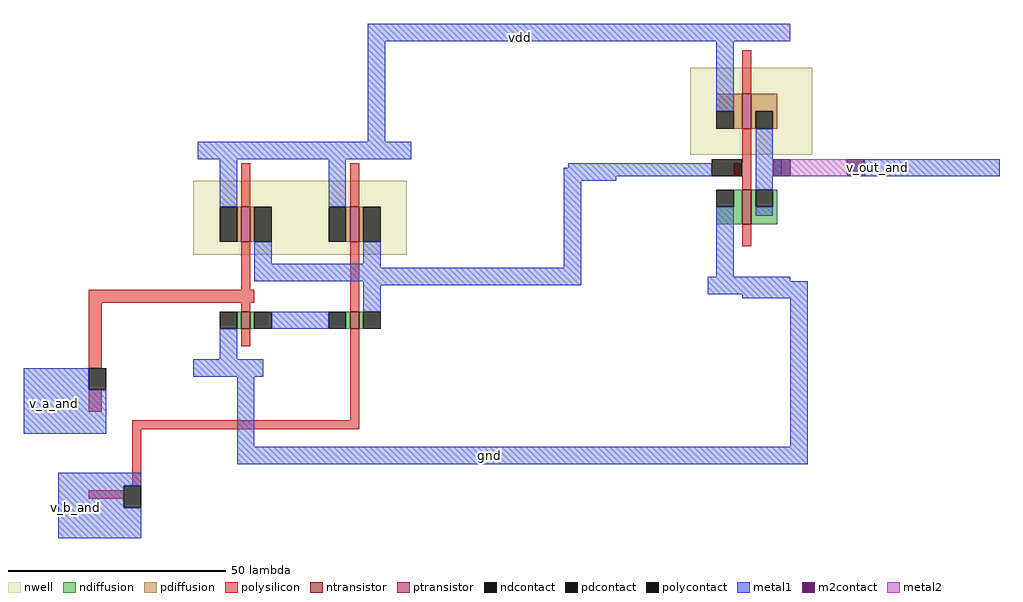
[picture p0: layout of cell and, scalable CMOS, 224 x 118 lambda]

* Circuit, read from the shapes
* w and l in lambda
.subckt and gnd v_a_and v_b_and v_out_and vdd
M1 n1 v_a_and gnd VSUBS nfet w=4 l=2
M2 inverter_0/v_in_inv v_b_and n1 VSUBS nfet w=4 l=2
M3 v_out_and inverter_0/v_in_inv gnd VSUBS nfet w=8 l=2
M4 inverter_0/v_in_inv v_a_and vdd n2 pfet w=8 l=2
M5 inverter_0/v_in_inv v_b_and vdd n2 pfet w=8 l=2
M6 v_out_and inverter_0/v_in_inv vdd n3 pfet w=8 l=2
.ends

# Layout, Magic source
magic
tech scmos
<< polysilicon >>
rect -24 18 14 21
rect -24 3 -21 18
rect -24 -7 -21 -2
rect 36 -9 38 11
rect -14 -11 38 -9
rect -14 -24 -12 -11
rect -24 -27 -16 -25
<< metal1 >>
rect 40 78 125 82
rect 40 51 44 78
rect 86 49 119 50
rect 85 47 119 49
rect 154 47 185 51
rect 85 46 97 47
rect 85 26 89 46
rect 39 22 89 26
rect 126 19 141 23
rect -39 -2 -24 3
rect -39 -12 -20 -2
rect 10 -15 14 5
rect 137 -15 141 19
rect 10 -19 141 -15
rect -31 -24 -12 -21
rect -31 -29 -16 -24
rect -31 -36 -12 -29
<< metal2 >>
rect 137 47 150 51
<< polycontact >>
rect 119 47 126 51
rect -24 -2 -20 3
rect -16 -29 -12 -24
<< m2contact >>
rect 133 47 137 51
rect 150 47 154 51
use inverter  inverter_0
transform 1 0 127 0 1 54
box -13 -34 15 28
use nand  nand_0
transform 1 0 0 0 1 26
box 0 -25 50 29
<< labels >>
rlabel metal1 157 49 157 49 7 v_out_and
rlabel metal1 68 -17 68 -17 1 gnd
rlabel metal1 75 79 75 79 5 vdd
rlabel metal1 -32 -5 -32 -5 1 v_a_and
rlabel metal1 -27 -29 -27 -29 1 v_b_and
<< end >>

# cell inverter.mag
magic
tech scmos
<< nwell >>
rect -13 -2 15 18
<< polysilicon >>
rect -1 12 1 22
rect -1 -4 1 4
rect -3 -7 1 -4
rect -1 -10 1 -7
rect -1 -23 1 -18
<< ndiffusion >>
rect -3 -14 -1 -10
rect -7 -18 -1 -14
rect 1 -14 2 -10
rect 6 -14 7 -10
rect 1 -18 7 -14
<< pdiffusion >>
rect -7 8 -1 12
rect -3 4 -1 8
rect 1 8 7 12
rect 1 4 2 8
rect 6 4 7 8
<< metal1 >>
rect -9 24 10 28
rect -7 8 -3 24
rect 2 -3 6 4
rect 2 -7 8 -3
rect 2 -10 6 -7
rect -7 -30 -3 -14
rect 2 -16 6 -14
rect -9 -34 10 -30
<< ntransistor >>
rect -1 -18 1 -10
<< ptransistor >>
rect -1 4 1 12
<< ndcontact >>
rect -7 -14 -3 -10
rect 2 -14 6 -10
<< pdcontact >>
rect -7 4 -3 8
rect 2 4 6 8
<< labels >>
rlabel metal1 -4 26 -4 26 5 vdd
rlabel metal1 0 -32 0 -32 1 gnd
rlabel polysilicon -2 -6 -2 -6 1 v_in_inv
rlabel metal1 6 -5 6 -5 1 v_out_inv
<< end >>

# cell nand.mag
magic
tech scmos
<< nwell >>
rect 0 3 49 20
<< polysilicon >>
rect 11 14 13 24
rect 36 14 38 24
rect 11 -10 13 6
rect 36 -10 38 6
rect 11 -18 13 -14
rect 36 -18 38 -14
<< ndiffusion >>
rect 10 -14 11 -10
rect 13 -14 14 -10
rect 35 -14 36 -10
rect 38 -14 39 -10
<< pdiffusion >>
rect 10 6 11 14
rect 13 6 14 14
rect 35 6 36 14
rect 38 6 39 14
<< metal1 >>
rect 1 25 50 29
rect 6 14 10 25
rect 31 14 35 25
rect 14 1 18 6
rect 39 1 43 6
rect 14 -3 43 1
rect 39 -10 43 -3
rect 18 -14 31 -10
rect 6 -21 10 -14
rect 0 -25 16 -21
<< ntransistor >>
rect 11 -14 13 -10
rect 36 -14 38 -10
<< ptransistor >>
rect 11 6 13 14
rect 36 6 38 14
<< ndcontact >>
rect 6 -14 10 -10
rect 14 -14 18 -10
rect 31 -14 35 -10
rect 39 -14 43 -10
<< pdcontact >>
rect 6 6 10 14
rect 14 6 18 14
rect 31 6 35 14
rect 39 6 43 14
<< labels >>
rlabel metal1 23 27 23 27 5 vdd
rlabel metal1 9 -23 9 -23 1 gnd
rlabel metal1 41 -2 41 -2 1 v_out_nand
<< end >>
